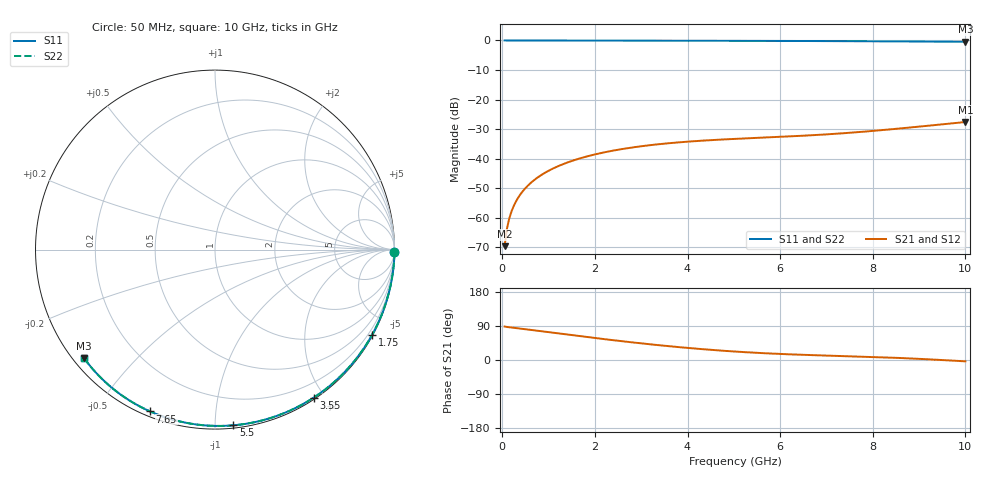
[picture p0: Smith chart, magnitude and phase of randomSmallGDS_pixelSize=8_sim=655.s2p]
! freq	dB(S11)	phase(S11)	dB(S12)	phase(S12)
!  dB(S21)	phase(S21)	dB(S22)	phase(S22)
!S-par simulation data
#  GHz  S  DB  R 50
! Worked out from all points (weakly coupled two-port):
!   200 points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, 50 MHz to 10 GHz, reference 50 ohm
!   highest |S21| = -27.62 dB at 10 GHz (marker M1); lowest = -69.7 dB at 50 MHz (marker M2)
!   lowest |S11| = -0.5 dB at 10 GHz (marker M3), VSWR 37.31, Z = 1.51 - j18 ohm
!   |S11| at or under -10 dB: nowhere
!   |S22| runs from -0.5 to 0.0 dB; largest |S21 - S12| = 0
!   S11 on the Smith chart (normalised r, x): 50 MHz: open; 1.75 GHz: 0.03, -3.94; 3.55 GHz: 0.02, -1.87; 5.5 GHz: 0.02, -1.11; 7.65 GHz: 0.02, -0.68; 10 GHz: 0.03, -0.36
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0.05  -0.00 -0.8  -69.66 88.3  -69.66 88.3  -0.00 -0.8
0.1  -0.00 -1.7  -63.74 87.1  -63.74 87.1  -0.00 -1.7
0.15  -0.00 -2.5  -60.29 86.3  -60.29 86.3  -0.00 -2.5
0.2  -0.00 -3.3  -57.84 85.6  -57.84 85.6  -0.00 -3.3
0.25  -0.00 -4.1  -55.94 84.9  -55.94 84.9  -0.00 -4.1
0.35  -0.00 -5.8  -53.06 83.5  -53.06 83.5  -0.00 -5.8
0.5  -0.01 -8.3  -50.00 81.2  -50.00 81.2  -0.01 -8.3
0.7  -0.01 -11.5  -47.13 78.1  -47.13 78.1  -0.01 -11.5
1  -0.02 -16.4  -44.12 73.4  -44.12 73.4  -0.02 -16.4
1.35  -0.03 -22.1  -41.65 67.9  -41.65 67.9  -0.03 -22.1
1.75  -0.04 -28.5  -39.60 61.8  -39.60 61.8  -0.04 -28.5
2.5  -0.05 -40.3  -37.00 50.8  -37.00 50.8  -0.05 -40.3
3.4  -0.07 -54.0  -35.10 38.8  -35.10 38.8  -0.07 -54.0
3.55  -0.08 -56.3  -34.86 37.0  -34.86 37.0  -0.08 -56.3
4.3  -0.10 -67.2  -33.95 28.8  -33.95 28.8  -0.10 -67.2
5.05  -0.12 -77.8  -33.30 22.1  -33.30 22.1  -0.12 -77.8
5.5  -0.14 -84.0  -32.98 18.9  -32.98 18.9  -0.14 -84.0
6.7  -0.19 -99.9  -32.08 12.8  -32.08 12.8  -0.19 -99.8
7.65  -0.25 -111.9  -31.08 9.4  -31.08 9.4  -0.25 -111.8
8.35  -0.30 -120.5  -30.15 6.5  -30.15 6.5  -0.30 -120.5
9.2  -0.38 -130.7  -28.87 1.9  -28.87 1.9  -0.38 -130.7
10  -0.47 -140.3  -27.62 -3.6  -27.62 -3.6  -0.47 -140.3
